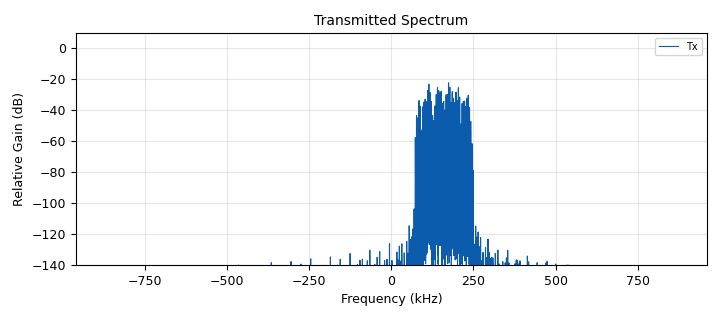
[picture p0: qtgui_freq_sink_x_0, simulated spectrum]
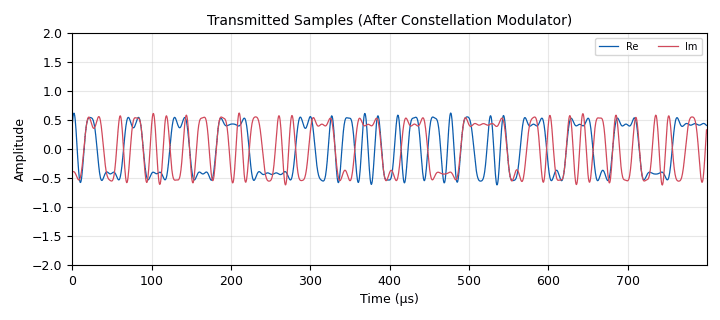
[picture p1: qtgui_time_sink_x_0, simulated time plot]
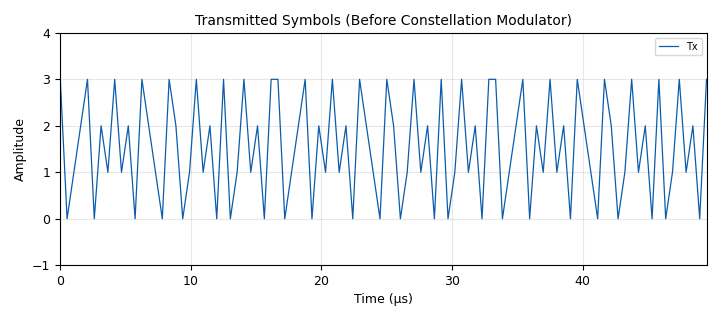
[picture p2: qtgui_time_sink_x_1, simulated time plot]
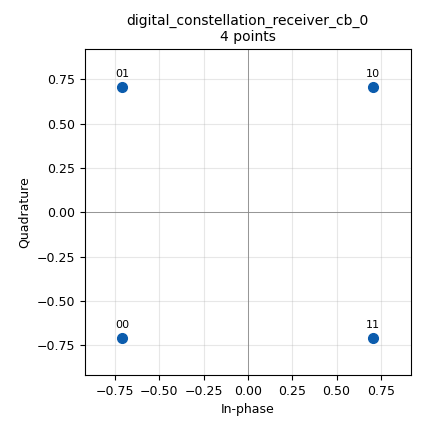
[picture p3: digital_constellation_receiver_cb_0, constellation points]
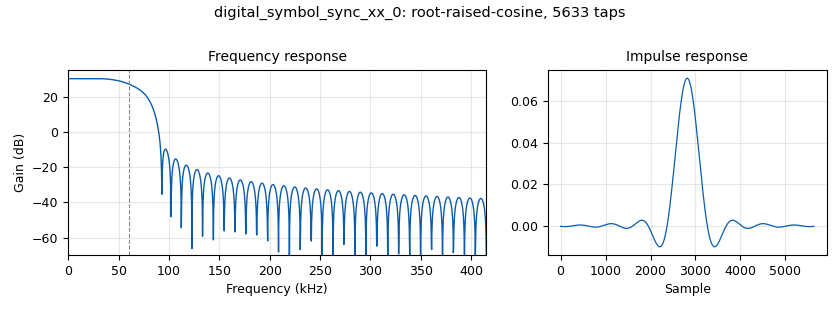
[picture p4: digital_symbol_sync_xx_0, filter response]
options:
  parameters:
    generate_options: qt_gui
    id: qpsk_loopback_jupiter
    output_language: python
    title: qpsk_loopback_jupiter
  states: {}

blocks:
- name: alpha
  id: variable
  parameters:
    value: '0.5'
  states: {}
- name: buff_size
  id: variable
  parameters:
    value: int(32768)
  states: {}
- name: constellation
  id: variable_constellation
  parameters:
    const_points: '[-1-1j, -1+1j, 1+1j, 1-1j]'
    dims: '1'
    normalization: digital.constellation.AMPLITUDE_NORMALIZATION
    precision: '8'
    rot_sym: '4'
    sym_map: '[0, 1, 2, 3]'
    type: calcdist
  states: {}
- name: gain_control_mode_rx0
  id: variable
  parameters:
    value: '''spi'''
  states: {}
- name: hardwaregain_rx0
  id: variable_qtgui_range
  parameters:
    gui_hint: (5,1,1,1)
    label: Rx Gain [dBfs]
    start: '0'
    step: '1'
    stop: '34'
    value: '15'
  states: {}
- name: hardwaregain_tx0
  id: variable_qtgui_range
  parameters:
    gui_hint: (5,0,1,1)
    label: Tx Attenuation [dBfs]
    start: '-41'
    step: '1'
    stop: '0'
    value: '0'
  states: {}
- name: interval_update
  id: variable
  parameters:
    value: int(0)
  states: {}
- name: jupiter_ip
  id: variable_config
  parameters:
    config_file: default
    option: key
    section: main
    type: string
    value: ip:jupiter.local
    writeback: None
  states: {}
- name: lo_offset
  id: variable
  parameters:
    value: int(00)
  states: {}
- name: nfilts
  id: variable
  parameters:
    value: '32'
  states: {}
- name: offset_rx
  id: variable
  parameters:
    value: '-150000'
  states: {}
- name: offset_tx
  id: variable
  parameters:
    value: int(160000)
  states: {}
- name: phase_shift_before_costas_loop
  id: variable_qtgui_range
  parameters:
    gui_hint: (1,1,1,1)
    label: Ph Shift (before CL) [rad]
    start: '0'
    step: math.pi/2
    stop: 2*math.pi
    value: '0'
  states: {}
- name: rrc_taps
  id: variable_rrc_filter_taps
  parameters:
    alpha: alpha
    gain: nfilts
    ntaps: 11*sps*nfilts
    samp_rate: nfilts*samp_rate
    sym_rate: samp_rate/sps
  states: {}
- name: rx_lo_freq
  id: variable
  parameters:
    value: int(2200000000)
  states: {}
- name: samp_rate
  id: variable
  parameters:
    value: '1920000'
  states: {}
- name: sps
  id: variable
  parameters:
    value: '16'
  states: {}
- name: tx_lo_freq
  id: variable
  parameters:
    value: int(2200000000 - lo_offset)
  states: {}
- name: analog_agc_xx_0
  id: analog_agc_xx
  parameters:
    gain: '1.0'
    max_gain: '65536'
    rate: '1e-4'
    reference: '1.0'
    type: complex
  states: {}
- name: analog_random_uniform_source_x_0
  id: analog_random_uniform_source_x
  parameters:
    maximum: '4'
    minimum: '0'
    seed: '0'
    type: byte
  states: {state: disabled}
- name: analog_sig_source_x_0_0
  id: analog_sig_source_x
  parameters:
    amp: '1'
    freq: offset_tx
    offset: '0'
    phase: '0'
    samp_rate: samp_rate
    type: complex
    waveform: analog.GR_COS_WAVE
  states: {}
- name: analog_sig_source_x_0_0_0
  id: analog_sig_source_x
  parameters:
    amp: '1'
    freq: offset_rx
    offset: '0'
    phase: '0'
    samp_rate: samp_rate
    type: complex
    waveform: analog.GR_COS_WAVE
  states: {}
- name: blocks_char_to_float_0
  id: blocks_char_to_float
  parameters:
    scale: '1'
  states: {}
- name: blocks_char_to_float_0_0
  id: blocks_char_to_float
  parameters:
    scale: '1'
  states: {}
- name: blocks_char_to_float_0_1
  id: blocks_char_to_float
  parameters:
    scale: '1'
  states: {}
- name: blocks_complex_to_imag_0_4_0
  id: blocks_complex_to_imag
  parameters: {}
  states: {}
- name: blocks_complex_to_real_0_4_0
  id: blocks_complex_to_real
  parameters: {}
  states: {}
- name: blocks_float_to_complex_0
  id: blocks_float_to_complex
  parameters: {}
  states: {}
- name: blocks_float_to_short_0_0_4_0
  id: blocks_float_to_short
  parameters:
    scale: '32767'
  states: {}
- name: blocks_float_to_short_0_5_0
  id: blocks_float_to_short
  parameters:
    scale: '32767'
  states: {}
- name: blocks_multiply_const_vxx_0
  id: blocks_multiply_const_vxx
  parameters:
    const: '0.6'
    type: complex
  states: {}
- name: blocks_multiply_xx_0_0
  id: blocks_multiply_xx
  parameters:
    type: complex
  states: {}
- name: blocks_multiply_xx_0_0_0
  id: blocks_multiply_xx
  parameters:
    type: complex
  states: {}
- name: blocks_null_sink_0
  id: blocks_null_sink
  parameters:
    type: float
  states: {}
- name: blocks_null_sink_0_0
  id: blocks_null_sink
  parameters:
    type: float
  states: {}
- name: blocks_null_sink_0_0_0
  id: blocks_null_sink
  parameters:
    type: float
  states: {}
- name: blocks_phase_shift_0_0
  id: blocks_phase_shift
  parameters:
    is_radians: 'True'
    shift: phase_shift_before_costas_loop
  states: {}
- name: blocks_short_to_float_0
  id: blocks_short_to_float
  parameters:
    scale: '32767'
  states: {}
- name: blocks_short_to_float_0_1
  id: blocks_short_to_float
  parameters:
    scale: '32767'
  states: {}
- name: blocks_skiphead_0
  id: blocks_skiphead
  parameters:
    comment: |-
      Skip one second of samples
      to allow AGC and FLL to lock
    num_items: int(samp_rate)
    type: complex
  states: {}
- name: blocks_unpacked_to_packed_xx_0
  id: blocks_unpacked_to_packed_xx
  parameters:
    bits_per_chunk: '2'
    endianness: gr.GR_MSB_FIRST
    type: byte
  states: {}
- name: blocks_vector_source_x_0
  id: blocks_vector_source_x
  parameters:
    repeat: 'True'
    type: byte
    vector: (3,0,1,2,3,0,2,1,3,1,2,0,3,2,1,0,3,2,0,1,3,1,2,0,3,0,1,3,1,2,0,3)
  states: {}
- name: digital_constellation_modulator_0
  id: digital_constellation_modulator
  parameters:
    constellation: constellation
    differential: 'True'
    excess_bw: alpha
    samples_per_symbol: sps
  states: {}
- name: digital_constellation_receiver_cb_0
  id: digital_constellation_receiver_cb
  parameters:
    comment: |-
      Input comes from Symbol Sync
      Includes a Costas Loop to do phase sync
    constellation: constellation
    fmax: math.pi
    fmin: '-math.pi'
    loop_bw: 2*math.pi*0.03
  states: {}
- name: digital_diff_decoder_bb_0
  id: digital_diff_decoder_bb
  parameters:
    coding: digital.DIFF_DIFFERENTIAL
    modulus: constellation.arity()
  states: {}
- name: digital_fll_band_edge_cc_0
  id: digital_fll_band_edge_cc
  parameters:
    filter_size: sps*2+1
    rolloff: alpha
    samps_per_sym: sps
    type: cc
    w: 2*math.pi/sps/100
  states: {}
- name: digital_symbol_sync_xx_0
  id: digital_symbol_sync_xx
  parameters:
    damping: '1'
    loop_bw: '0.045'
    max_dev: '1'
    nfilters: nfilts
    osps: '1'
    pfb_mf_taps: rrc_taps
    resamp_type: digital.IR_PFB_MF
    sps: sps
    ted_gain: '1.0'
    ted_type: digital.TED_SIGNAL_TIMES_SLOPE_ML
    type: cc
  states: {}
- name: iio_attr_sink_0
  id: iio_attr_sink
  parameters:
    attr_type: '0'
    channel: voltage0
    device: adrv9002-phy
    output: 'False'
    uri: jupiter_ip
  states: {}
- name: iio_attr_sink_0_0
  id: iio_attr_sink
  parameters:
    attr_type: '0'
    channel: voltage1
    device: adrv9002-phy
    output: 'False'
    uri: jupiter_ip
  states: {}
- name: iio_attr_sink_0_0_0
  id: iio_attr_sink
  parameters:
    attr_type: '0'
    channel: voltage1
    device: adrv9002-phy
    output: 'True'
    uri: jupiter_ip
  states: {}
- name: iio_attr_sink_0_1
  id: iio_attr_sink
  parameters:
    attr_type: '0'
    channel: voltage0
    device: adrv9002-phy
    output: 'True'
    uri: jupiter_ip
  states: {}
- name: iio_attr_sink_0_1_0
  id: iio_attr_sink
  parameters:
    attr_type: '0'
    channel: altvoltage0
    device: adrv9002-phy
    output: 'True'
    uri: jupiter_ip
  states: {}
- name: iio_attr_sink_0_1_0_0
  id: iio_attr_sink
  parameters:
    attr_type: '0'
    channel: altvoltage2
    device: adrv9002-phy
    output: 'True'
    uri: jupiter_ip
  states: {}
- name: iio_attr_sink_0_1_0_1
  id: iio_attr_sink
  parameters:
    attr_type: '0'
    channel: voltage0
    device: adrv9002-phy
    output: 'False'
    uri: jupiter_ip
  states: {}
- name: iio_attr_updater_0
  id: iio_attr_updater
  parameters:
    attr: hardwaregain
    interval: interval_update
    value: str(hardwaregain_rx0)
  states: {}
- name: iio_attr_updater_0_0
  id: iio_attr_updater
  parameters:
    attr: hardwaregain
    interval: interval_update
    value: str(0)
  states: {}
- name: iio_attr_updater_0_0_0
  id: iio_attr_updater
  parameters:
    attr: hardwaregain
    interval: interval_update
    value: str(-40)
  states: {}
- name: iio_attr_updater_0_1
  id: iio_attr_updater
  parameters:
    attr: hardwaregain
    interval: interval_update
    value: str(hardwaregain_tx0)
  states: {}
- name: iio_attr_updater_0_1_0
  id: iio_attr_updater
  parameters:
    attr: frequency
    interval: interval_update
    value: str(rx_lo_freq)
  states: {}
- name: iio_attr_updater_0_1_0_0
  id: iio_attr_updater
  parameters:
    attr: frequency
    interval: interval_update
    value: str(tx_lo_freq)
  states: {}
- name: iio_attr_updater_0_1_0_1
  id: iio_attr_updater
  parameters:
    attr: gain_control_mode
    interval: interval_update
    value: gain_control_mode_rx0
  states: {}
- name: iio_device_sink_0_1
  id: iio_device_sink
  parameters:
    buffer_size: buff_size
    channels: '[''voltage0'',''voltage1'']'
    cyclic: 'True'
    device: axi-adrv9002-tx-lpc
    device_phy: adrv9002-phy
    interpolation: '1'
    params: '[]'
    uri: jupiter_ip
  states: {}
- name: iio_device_source_0
  id: iio_device_source
  parameters:
    buffer_size: buff_size
    channels: '[''voltage0_i'',''voltage0_q'']'
    decimation: '1'
    device: axi-adrv9002-rx-lpc
    device_phy: adrv9002-phy
    params: '[]'
    uri: jupiter_ip
  states: {}
- name: import_0
  id: import
  parameters:
    imports: import math
  states: {}
- name: qtgui_const_sink_x_0_0
  id: qtgui_const_sink_x
  parameters:
    grid: 'True'
    gui_hint: (4,0,1,1)
    label1: '''Rx Before \nCostas Loop'''
    label2: '''Rx After \nCostas Loop'''
    name: Received Constellation
    nconnections: '2'
    size: int(1024)
    tr_level: '0.3'
    type: complex
  states: {}
- name: qtgui_eye_sink_x_0_0
  id: qtgui_eye_sink_x
  parameters:
    grid: 'True'
    gui_hint: (4,1,1,1)
    label1: Rx Re (After Costas Loop)
    label2: Rx Im (After Costas Loop)
    samp_per_symbol: '1'
    size: '100'
    srate: samp_rate
    type: complex
    ymax: '2'
    ymin: '-2'
  states: {}
- name: qtgui_freq_sink_x_0
  id: qtgui_freq_sink_x
  parameters:
    bw: samp_rate
    fc: '0'
    fftsize: '8192'
    grid: 'True'
    gui_hint: (3,0,1,1)
    label1: Tx
    name: Transmitted Spectrum
    tr_level: '-40'
    tr_mode: qtgui.TRIG_MODE_NORM
    type: complex
    update_time: '1'
  states: {}
- name: qtgui_freq_sink_x_0_0_0
  id: qtgui_freq_sink_x
  parameters:
    bw: samp_rate
    fc: '0'
    fftsize: '8192'
    grid: 'True'
    gui_hint: (3,1,1,1)
    label1: Rx
    label2: '''Rx \n+ \nFreq Offset'''
    label3: '''Rx \n+ \nFreq \nOffset \n+ \nFLL'''
    name: '"Received spectrum"'
    nconnections: '3'
    tr_level: '-60'
    tr_mode: qtgui.TRIG_MODE_NORM
    type: complex
    update_time: '0.5'
  states: {}
- name: qtgui_time_sink_x_0
  id: qtgui_time_sink_x
  parameters:
    grid: 'True'
    gui_hint: (2,0,1,1)
    label1: Re
    label2: Im
    name: Transmitted Samples (After Constellation Modulator)
    size: 96*16
    srate: samp_rate
    tr_level: '0.5'
    tr_mode: qtgui.TRIG_MODE_NORM
    type: complex
    ymax: '2'
    ymin: '-2'
  states: {}
- name: qtgui_time_sink_x_1
  id: qtgui_time_sink_x
  parameters:
    grid: 'True'
    gui_hint: (0,0,1,1)
    label1: Tx
    name: Transmitted Symbols (Before Constellation Modulator)
    size: '96'
    srate: samp_rate
    type: float
    ymax: '4'
  states: {}
- name: qtgui_time_sink_x_1_0
  id: qtgui_time_sink_x
  parameters:
    grid: 'True'
    gui_hint: (2,1,1,1)
    label1: Re
    label2: Im
    name: '"Received Samples (After Costas Loop)"'
    size: '96'
    srate: samp_rate
    tr_level: '0.1'
    type: complex
    ymax: '2'
    ymin: '-2'
  states: {}
- name: qtgui_time_sink_x_3
  id: qtgui_time_sink_x
  parameters:
    grid: 'True'
    gui_hint: (0,1,1,1)
    label1: '''Before \nDiff. \nDecoding'''
    label2: '''After \nDiff. \nDecoding'''
    name: Received Demodulated Symbols
    nconnections: '2'
    size: '96'
    srate: samp_rate
    tr_level: '2.5'
    tr_mode: qtgui.TRIG_MODE_NORM
    type: float
    width2: '3'
    ymax: '4'
  states: {}

connections:
- [analog_agc_xx_0, '0', digital_fll_band_edge_cc_0, '0']
- [analog_agc_xx_0, '0', qtgui_freq_sink_x_0_0_0, '1']
- [analog_random_uniform_source_x_0, '0', blocks_char_to_float_0_1, '0']
- [analog_sig_source_x_0_0, '0', blocks_multiply_xx_0_0, '1']
- [analog_sig_source_x_0_0_0, '0', blocks_multiply_xx_0_0_0, '1']
- [blocks_char_to_float_0, '0', qtgui_time_sink_x_3, '1']
- [blocks_char_to_float_0_0, '0', qtgui_time_sink_x_3, '0']
- [blocks_char_to_float_0_1, '0', qtgui_time_sink_x_1, '0']
- [blocks_complex_to_imag_0_4_0, '0', blocks_float_to_short_0_0_4_0, '0']
- [blocks_complex_to_real_0_4_0, '0', blocks_float_to_short_0_5_0, '0']
- [blocks_float_to_complex_0, '0', blocks_multiply_xx_0_0_0, '0']
- [blocks_float_to_complex_0, '0', qtgui_freq_sink_x_0_0_0, '0']
- [blocks_float_to_short_0_0_4_0, '0', iio_device_sink_0_1, '1']
- [blocks_float_to_short_0_5_0, '0', iio_device_sink_0_1, '0']
- [blocks_multiply_const_vxx_0, '0', blocks_multiply_xx_0_0, '0']
- [blocks_multiply_const_vxx_0, '0', qtgui_time_sink_x_0, '0']
- [blocks_multiply_xx_0_0, '0', blocks_complex_to_imag_0_4_0, '0']
- [blocks_multiply_xx_0_0, '0', blocks_complex_to_real_0_4_0, '0']
- [blocks_multiply_xx_0_0, '0', qtgui_freq_sink_x_0, '0']
- [blocks_multiply_xx_0_0_0, '0', analog_agc_xx_0, '0']
- [blocks_phase_shift_0_0, '0', digital_constellation_receiver_cb_0, '0']
- [blocks_short_to_float_0, '0', blocks_float_to_complex_0, '0']
- [blocks_short_to_float_0_1, '0', blocks_float_to_complex_0, '1']
- [blocks_skiphead_0, '0', digital_symbol_sync_xx_0, '0']
- [blocks_unpacked_to_packed_xx_0, '0', digital_constellation_modulator_0, '0']
- [blocks_vector_source_x_0, '0', blocks_char_to_float_0_1, '0']
- [blocks_vector_source_x_0, '0', blocks_unpacked_to_packed_xx_0, '0']
- [digital_constellation_modulator_0, '0', blocks_multiply_const_vxx_0, '0']
- [digital_constellation_receiver_cb_0, '0', blocks_char_to_float_0_0, '0']
- [digital_constellation_receiver_cb_0, '0', digital_diff_decoder_bb_0, '0']
- [digital_constellation_receiver_cb_0, '1', blocks_null_sink_0, '0']
- [digital_constellation_receiver_cb_0, '2', blocks_null_sink_0_0, '0']
- [digital_constellation_receiver_cb_0, '3', blocks_null_sink_0_0_0, '0']
- [digital_constellation_receiver_cb_0, '4', qtgui_const_sink_x_0_0, '1']
- [digital_constellation_receiver_cb_0, '4', qtgui_eye_sink_x_0_0, '0']
- [digital_constellation_receiver_cb_0, '4', qtgui_time_sink_x_1_0, '0']
- [digital_diff_decoder_bb_0, '0', blocks_char_to_float_0, '0']
- [digital_fll_band_edge_cc_0, '0', blocks_skiphead_0, '0']
- [digital_fll_band_edge_cc_0, '0', qtgui_freq_sink_x_0_0_0, '2']
- [digital_symbol_sync_xx_0, '0', blocks_phase_shift_0_0, '0']
- [digital_symbol_sync_xx_0, '0', qtgui_const_sink_x_0_0, '0']
- [iio_attr_updater_0, out, iio_attr_sink_0, attr]
- [iio_attr_updater_0_0, out, iio_attr_sink_0_0, attr]
- [iio_attr_updater_0_0_0, out, iio_attr_sink_0_0_0, attr]
- [iio_attr_updater_0_1, out, iio_attr_sink_0_1, attr]
- [iio_attr_updater_0_1_0, out, iio_attr_sink_0_1_0, attr]
- [iio_attr_updater_0_1_0_0, out, iio_attr_sink_0_1_0_0, attr]
- [iio_attr_updater_0_1_0_1, out, iio_attr_sink_0_1_0_1, attr]
- [iio_device_source_0, '0', blocks_short_to_float_0, '0']
- [iio_device_source_0, '1', blocks_short_to_float_0_1, '0']

metadata:
  file_format: 1
  grc_version: v3.10.11.0-1-gee27d6f3
